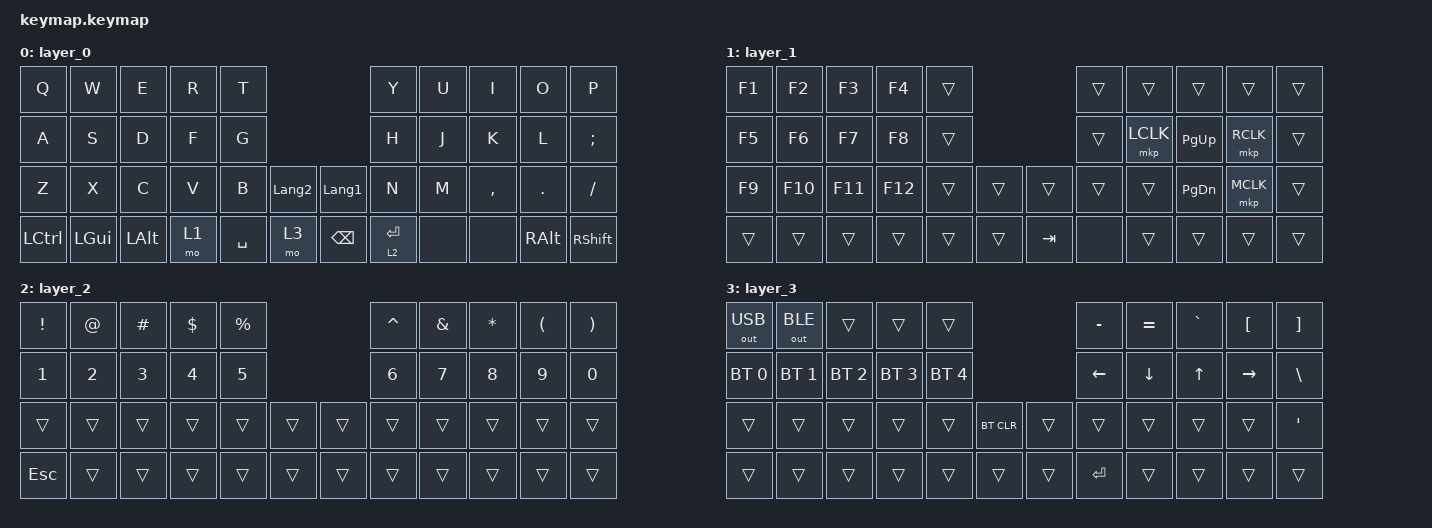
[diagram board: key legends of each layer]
#include <behaviors.dtsi>
#include <dt-bindings/zmk/bt.h>
#include <dt-bindings/zmk/keys.h>
#include <dt-bindings/zmk/outputs.h>
#include <dt-bindings/zmk/pointing.h>

/ {
    combos {
        compatible = "zmk,combos";

        sticky_shift {
            bindings = <&skq LSHIFT>;
            key-positions = <12 13>;
        };
    };

    behaviors {
        skq: skq {
            compatible = "zmk,behavior-sticky-key";
            label = "Sticky Key Quick Release";
            bindings = <&kp>;
            #binding-cells = <1>;
            release-after-ms = <1000>;
            quick-release;
            ignore-modifiers;
        };
    };

    keymap {
        compatible = "zmk,keymap";

        layer_0 {
            bindings = <
    &kp Q         &kp W         &kp E         &kp R         &kp T                                          &kp Y         &kp U         &kp I         &kp O         &kp P
    &kp A         &kp S         &kp D         &kp F         &kp G                                          &kp H         &kp J         &kp K         &kp L         &kp SEMI
    &kp Z         &kp X         &kp C         &kp V         &kp B         &kp LANGUAGE_2    &kp LANGUAGE_1 &kp N         &kp M         &kp COMMA     &kp DOT       &kp FSLH
    &kp LCTRL     &kp LGUI      &kp LALT      &mo 1         &kp SPACE     &mo 3             &kp BSPC       &lt 2 ENTER   &none         &none         &kp RALT      &kp RSHIFT
            >;
        };

        layer_1 {
            bindings = <
    &kp F1        &kp F2        &kp F3        &kp F4        &trans                                        &trans        &trans        &trans        &trans        &trans
    &kp F5        &kp F6        &kp F7        &kp F8        &trans                                        &trans        &mkp LCLK     &kp PG_UP     &mkp RCLK     &trans
    &kp F9        &kp F10       &kp F11       &kp F12       &trans        &trans            &trans        &trans        &trans        &kp PG_DN     &mkp MCLK     &trans
    &trans        &trans        &trans        &trans        &trans        &trans            &kp TAB       &none         &trans        &trans        &trans        &trans
            >;
        };

        layer_2 {
            bindings = <
    &kp EXCL      &kp AT        &kp HASH      &kp DLLR      &kp PRCNT                                     &kp CARET     &kp AMPS      &kp STAR      &kp LPAR      &kp RPAR
    &kp N1        &kp N2        &kp N3        &kp N4        &kp N5                                        &kp N6        &kp N7        &kp N8        &kp N9        &kp N0
    &trans        &trans        &trans        &trans        &trans        &trans            &trans        &trans        &trans        &trans        &trans        &trans
    &kp ESC       &trans        &trans        &trans        &trans        &trans            &trans        &trans        &trans        &trans        &trans        &trans
            >;
        };

        layer_3 {
            bindings = <
    &out OUT_USB  &out OUT_BLE  &trans        &trans        &trans                                        &kp MINUS     &kp EQUAL     &kp GRAVE     &kp LBKT      &kp RBKT
    &bt BT_SEL 0  &bt BT_SEL 1  &bt BT_SEL 2  &bt BT_SEL 3  &bt BT_SEL 4                                  &kp LEFT      &kp DOWN      &kp UP_ARROW  &kp RIGHT     &kp BSLH
    &trans        &trans        &trans        &trans        &trans        &bt BT_CLR        &trans        &trans        &trans        &trans        &trans        &kp SQT
    &trans        &trans        &trans        &trans        &trans        &trans            &trans        &kp ENTER     &trans        &trans        &trans        &trans
            >;
        };
    };
};
